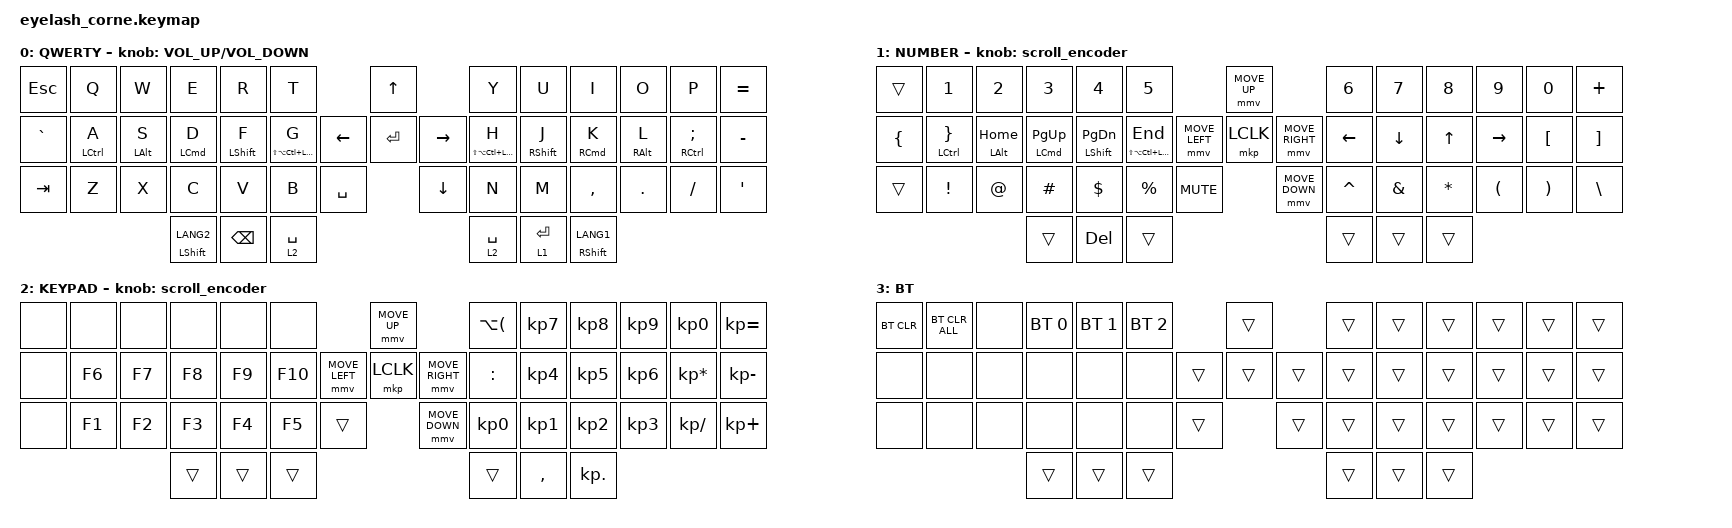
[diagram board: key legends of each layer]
#include <dt-bindings/zmk/mouse.h>
#include <input/processors.dtsi>
#include <behaviors.dtsi>
#include <dt-bindings/zmk/bt.h>
#include <dt-bindings/zmk/keys.h>
#include <dt-bindings/zmk/pointing.h>
#include <dt-bindings/zmk/rgb.h>

/*

   &mmv_input_listener {
       input-processors = <&zip_xy_scaler 2 1>;
   };

   &msc_input_listener {
       input-processors = <&zip_xy_scaler 2 1>;
   };

 */

#define ZMK_MOUSE_DEFAULT_MOVE_VAL 1200  // 600
#define ZMK_MOUSE_DEFAULT_SCRL_VAL 20    // 10

/ {
    behaviors {
        td0: td0 {
            compatible = "zmk,behavior-tap-dance";
            display-name = "Shift/Caps Lock Tap Dance";
            #binding-cells = <0>;
            bindings = <&kp LEFT_SHIFT>, <&kp CAPS>;
        };

        hml: hml {
            compatible = "zmk,behavior-hold-tap";
            label = "HML";
            bindings = <&kp>, <&kp>;

            #binding-cells = <2>;
            tapping-term-ms = <220>;
            quick-tap-ms = <175>;
            require-prior-idle-ms = <150>;
            flavor = "balanced";
            hold-trigger-on-release;
            hold-trigger-key-positions = <17 15 16 14 18>;
        };

        hmr: hmr {
            compatible = "zmk,behavior-hold-tap";
            label = "HMR";
            bindings = <&kp>, <&kp>;

            #binding-cells = <2>;
            tapping-term-ms = <220>;
            quick-tap-ms = <175>;
            require-prior-idle-ms = <150>;
            flavor = "balanced";
            hold-trigger-on-release;
            hold-trigger-key-positions = <23 24 25 26 22>;
        };

        sticky_shift_and_caps: sticky_shift_and_caps {
            compatible = "zmk,behavior-tap-dance";
            label = "STICKY_SHIFT_AND_CAPS";
            #binding-cells = <0>;
            bindings = <&sk LSHFT>, <&caps_word>;
        };
    };

    rgb_encoder: rgb_encoder {
        compatible = "zmk,behavior-sensor-rotate";
        #sensor-binding-cells = <0>;
        bindings = <&rgb_ug RGB_BRI>, <&rgb_ug RGB_BRD>;
    };

    scroll_encoder: scroll_encoder {
        compatible = "zmk,behavior-sensor-rotate";
        #sensor-binding-cells = <0>;
        bindings = <&msc SCRL_DOWN>, <&msc SCRL_UP>;

        tap-ms = <30>;
    };

    combos {
        compatible = "zmk,combos";

        Layer3 {
            bindings = <&mo 3>;
            key-positions = <28 33>;
            layers = <0>;
        };
    };

    keymap {
        compatible = "zmk,keymap";

        default_layer {
            display-name = "QWERTY";
            bindings = <
&kp ESC    &kp Q                &kp W            &kp E                &kp R              &kp T                                                   &kp UP                &kp Y                            &kp U               &kp I                 &kp O             &kp P                    &kp EQUAL
&kp GRAVE  &hml LEFT_CONTROL A  &hml LEFT_ALT S  &hml LEFT_COMMAND D  &hml LEFT_SHIFT F  &hml LS(LA(LC(LEFT_COMMAND))) G               &kp LEFT  &kp ENTER  &kp RIGHT  &hmr LS(LA(LC(LEFT_COMMAND))) H  &hmr RIGHT_SHIFT J  &hmr RIGHT_COMMAND K  &hmr RIGHT_ALT L  &hmr RIGHT_CONTROL SEMI  &kp MINUS
&kp TAB    &kp Z                &kp X            &kp C                &kp V              &kp B                            &kp SPACE              &kp DOWN              &kp N                            &kp M               &kp COMMA             &kp DOT           &kp FSLH                 &kp SQT
                                                 &mt LSHIFT LANG2     &kp BACKSPACE      &lt 2 SPACE                                                                   &lt 2 SPACE                      &lt 1 RETURN        &mt RSHIFT LANG1
            >;

            sensor-bindings = <&inc_dec_kp C_VOLUME_UP C_VOLUME_DOWN>;
        };

        lower_layer {
            display-name = "NUMBER";
            bindings = <
&trans          &kp N1                         &kp N2              &kp N3                   &kp N4                 &kp N5                                                           &mmv MOVE_UP                     &kp N6     &kp N7         &kp N8     &kp N9     &kp N0    &kp PLUS
&kp LEFT_BRACE  &hml LEFT_CONTROL RIGHT_BRACE  &hml LEFT_ALT HOME  &hml LEFT_COMMAND PG_UP  &hml LEFT_SHIFT PG_DN  &hml LS(LA(LC(LEFT_COMMAND))) END                &mmv MOVE_LEFT  &mkp LCLK       &mmv MOVE_RIGHT  &kp LEFT   &kp DOWN       &kp UP     &kp RIGHT  &kp LBKT  &kp RBKT
&trans          &kp EXCL                       &kp AT              &kp HASH                 &kp DOLLAR             &kp PERCENT                        &kp C_MUTE                    &mmv MOVE_DOWN                   &kp CARET  &kp AMPERSAND  &kp ASTRK  &kp LPAR   &kp RPAR  &kp BACKSLASH
                                                                   &trans                   &kp DEL                &trans                                                                                            &trans     &trans         &trans
            >;

            sensor-bindings = <&scroll_encoder>;
        };

        raise_layer {
            display-name = "KEYPAD";
            bindings = <
&none  &none   &none   &none   &none   &none                              &mmv MOVE_UP                     &kp LA(LPAR)  &kp KP_N7  &kp KP_N8   &kp KP_N9  &kp KP_N0        &kp KP_EQUAL
&none  &kp F6  &kp F7  &kp F8  &kp F9  &kp F10            &mmv MOVE_LEFT  &mkp LCLK       &mmv MOVE_RIGHT  &kp COLON     &kp KP_N4  &kp KP_N5   &kp KP_N6  &kp KP_MULTIPLY  &kp KP_MINUS
&none  &kp F1  &kp F2  &kp F3  &kp F4  &kp F5   &trans                    &mmv MOVE_DOWN                   &kp KP_N0     &kp KP_N1  &kp KP_N2   &kp KP_N3  &kp KP_DIVIDE    &kp KP_PLUS
                       &trans  &trans  &trans                                                              &trans        &kp COMMA  &kp KP_DOT
            >;

            sensor-bindings = <&scroll_encoder>;
        };

        BT {
            bindings = <
&bt BT_CLR  &bt BT_CLR_ALL  &none  &bt BT_SEL 0  &bt BT_SEL 1  &bt BT_SEL 2                    &trans          &trans  &trans  &trans  &trans  &trans  &trans
&none       &none           &none  &none         &none         &none                   &trans  &trans  &trans  &trans  &trans  &trans  &trans  &trans  &trans
&none       &none           &none  &none         &none         &none         &trans            &trans          &trans  &trans  &trans  &trans  &trans  &trans
                                   &trans        &trans        &trans                                          &trans  &trans  &trans
            >;
        };
    };
};
